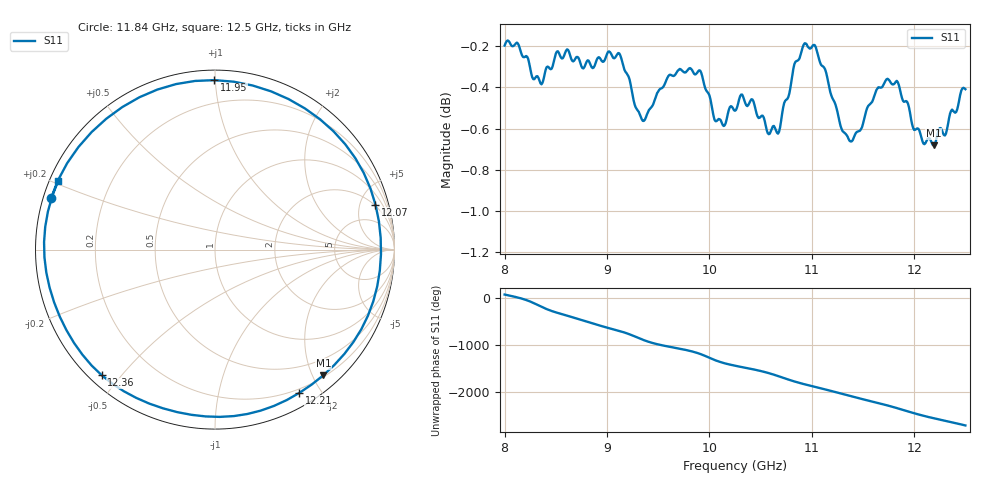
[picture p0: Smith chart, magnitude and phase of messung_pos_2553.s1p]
#  HZ  S  RI  R  50.00
! Rohde & Schwarz Vector Network Analyzer
! Rohde-Schwarz,ZNA43-4Port,1332450044101932,2.92
! Created: UTC 6/1/2026, 11:34:45 AM
! freq[Hz]  re:S11  im:S11
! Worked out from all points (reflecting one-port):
!   451 points, 8 GHz to 12.5 GHz, reference 50 ohm
!   lowest |S11| = -0.7 dB at 12.19 GHz (marker M1), VSWR 25.47, Z = 11.2 - j108 ohm
!   phase of S11 starts at 83 deg and turns -2806 deg over the sweep
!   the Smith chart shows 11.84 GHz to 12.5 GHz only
!   S11 on the Smith chart (normalised r, x): 11.84 GHz: 0.02, +0.15; 11.95 GHz: 0.06, +1.00; 12.07 GHz: 1.87, +6.78; 12.21 GHz: 0.15, -1.74; 12.36 GHz: 0.04, -0.44; 12.5 GHz: 0.02, +0.21
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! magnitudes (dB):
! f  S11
! 8 GHz  -0.2
! 8.13 GHz  -0.2
! 8.36 GHz  -0.4
! 8.51 GHz  -0.2
! 8.57 GHz  -0.3
! 9.13 GHz  -0.2
! 9.35 GHz  -0.6
! 9.69 GHz  -0.3
! 9.91 GHz  -0.3
! 10.06 GHz  -0.6
! 10.25 GHz  -0.5
! 10.42 GHz  -0.5
! 10.57 GHz  -0.6
! 10.67 GHz  -0.6
! 10.82 GHz  -0.3
! 10.93 GHz  -0.2
! 11.03 GHz  -0.2
! 11.29 GHz  -0.6
! 11.38 GHz  -0.7
! 11.64 GHz  -0.4
! 11.84 GHz  -0.4
! 11.94 GHz  -0.5
! 11.95 GHz  -0.5
! 12.07 GHz  -0.6
! 12.19 GHz  -0.7
! 12.21 GHz  -0.7
! 12.36 GHz  -0.5
! 12.5 GHz  -0.4
